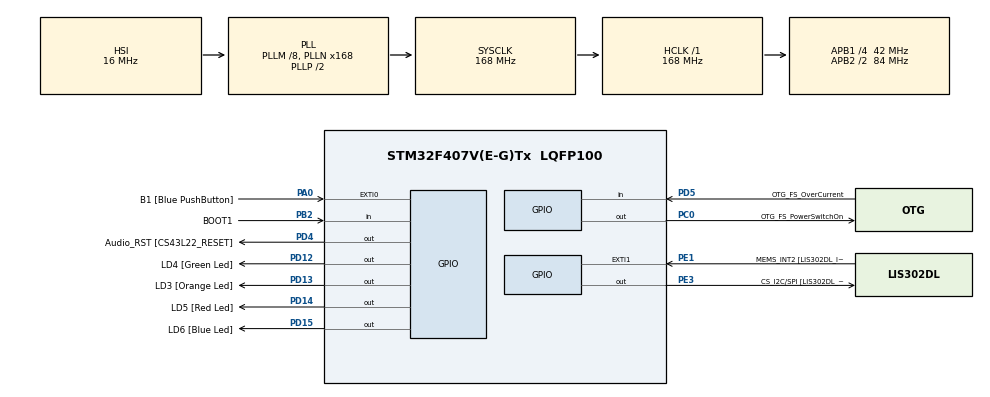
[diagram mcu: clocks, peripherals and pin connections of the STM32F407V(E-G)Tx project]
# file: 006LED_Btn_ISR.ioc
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Mcu.Family=STM32F4
PA11.GPIO_Speed=GPIO_SPEED_FREQ_LOW
PC3.GPIO_Mode=GPIO_MODE_AF_PP
PD12.GPIO_Label=LD4 [Green Led]
PH0-OSC_IN.Signal=RCC_OSC_IN
VP_SYS_VS_tim6.Mode=TIM6
RCC.CortexFreq_Value=168000000
PC10.GPIO_PuPd=GPIO_NOPULL
PB10.GPIO_Speed=GPIO_SPEED_FREQ_LOW
PB6.GPIO_Mode=GPIO_MODE_AF_OD
PB10.GPIO_PuPd=GPIO_NOPULL
NVIC.TIM6_DAC_IRQn=true\:0\:0\:false\:false\:true\:false\:true
PA10.GPIO_PuPd=GPIO_NOPULL
PD15.GPIO_Speed=GPIO_SPEED_FREQ_LOW
PC10.Signal=I2S3_CK
PC12.Signal=I2S3_SD
PA14.GPIO_Label=SWCLK
PA7.GPIO_Mode=GPIO_MODE_AF_PP
PC0.GPIO_Label=OTG_FS_PowerSwitchOn
PA6.GPIO_Label=SPI1_MISO [LIS302DL_SDO]
PB6.GPIO_Label=Audio_SCL [CS43L22_SCL]
PC10.GPIO_Speed=GPIO_SPEED_FREQ_LOW
PA11.GPIO_PuPd=GPIO_NOPULL
PC15-OSC32_OUT.GPIO_Label=PC15-OSC32_OUT
PC3.GPIO_Speed=GPIO_SPEED_FREQ_LOW
RCC.SYSCLKSource=RCC_SYSCLKSOURCE_PLLCLK
ProjectManager.StackSize=0x400
PA6.GPIO_Mode=GPIO_MODE_AF_PP
PD13.Signal=GPIO_Output
PD14.GPIO_Speed=GPIO_SPEED_FREQ_LOW
PA12.Signal=USB_OTG_FS_DP
RCC.HCLKFreq_Value=168000000
PD4.Signal=GPIO_Output
RCC.APB2TimFreq_Value=168000000
PB6.Signal=I2C1_SCL
PC7.Signal=I2S3_MCK
PC3.Signal=I2S2_SD
PE1.Signal=GPXTI1
RCC.AHBFreq_Value=168000000
PH0-OSC_IN.GPIO_Label=PH0-OSC_IN
PA9.GPIO_Mode=GPIO_MODE_INPUT
RCC.HSE_VALUE=8000000
PA4.GPIO_PuPd=GPIO_NOPULL
PB2.Signal=GPIO_Input
PA4.GPIO_Speed=GPIO_SPEED_FREQ_LOW
PA6.GPIO_PuPd=GPIO_NOPULL
PA5.GPIO_PuPd=GPIO_NOPULL
PA10.GPIO_Label=OTG_FS_ID
PC7.GPIO_Mode=GPIO_MODE_AF_PP
PD5.GPIO_Mode=GPIO_MODE_INPUT
PD14.GPIO_PuPd=GPIO_NOPULL
PB2.GPIO_PuPd=GPIO_NOPULL
PD13.GPIO_Label=LD3 [Orange Led]
Mcu.Package=LQFP100
PB9.Signal=I2C1_SDA
PA6.Signal=SPI1_MISO
NVIC.TimeBase=TIM6_DAC_IRQn
PD12.Signal=GPIO_Output
PD5.GPIO_Label=OTG_FS_OverCurrent
PD15.GPIO_PuPd=GPIO_NOPULL
NVIC.TimeBaseIP=TIM6
PA10.Signal=USB_OTG_FS_ID
PB9.GPIO_PuPd=GPIO_NOPULL
PA10.GPIO_Speed=GPIO_SPEED_FREQ_LOW
RCC.APB2CLKDivider=RCC_HCLK_DIV2
PB9.GPIO_Speed=GPIO_SPEED_FREQ_LOW
RCC.APB1TimFreq_Value=84000000
PC14-OSC32_IN.GPIO_Label=PC14-OSC32_IN
PC12.GPIO_PuPd=GPIO_NOPULL
PA6.GPIO_Speed=GPIO_SPEED_FREQ_LOW
PC0.GPIO_PuPd=GPIO_NOPULL
PA12.GPIO_PuPd=GPIO_NOPULL
PA4.GPIO_Label=I2S3_WS [CS43L22_LRCK]
PD15.Signal=GPIO_Output
PC0.PinState=GPIO_PIN_SET
PA12.GPIO_Speed=GPIO_SPEED_FREQ_LOW
PB3.GPIO_Label=SWO
PD12.GPIO_Speed=GPIO_SPEED_FREQ_LOW
PD15.GPIO_Label=LD6 [Blue Led]
PB9.GPIO_Label=Audio_SDA [CS43L22_SDA]
PC10.GPIO_Label=I2S3_SCK [CS43L22_SCLK]
PA9.GPIO_Label=VBUS_FS
PB6.GPIO_PuPd=GPIO_NOPULL
PA11.GPIO_Label=OTG_FS_DM
PE1.GPIO_PuPd=GPIO_NOPULL
PD5.Signal=GPIO_Input
PC0.Signal=GPIO_Output
PE1.GPIO_ModeDefaultEXTI=GPIO_MODE_EVT_RISING
RCC.APB1CLKDivider=RCC_HCLK_DIV4
PC14-OSC32_IN.Signal=RCC_OSC32_IN
PA9.GPIO_PuPd=GPIO_NOPULL
PA0-WKUP.GPIO_ModeDefaultEXTI=GPIO_MODE_IT_RISING
PA12.GPIO_Label=OTG_FS_DP
PA0-WKUP.GPIO_Label=B1 [Blue PushButton]
PA0-WKUP.Signal=GPXTI0
PA10.GPIO_Mode=GPIO_MODE_AF_PP
PA13.Signal=SYS_JTMS-SWDIO
PC10.GPIO_Mode=GPIO_MODE_AF_PP
PD4.GPIO_PuPd=GPIO_NOPULL
PC0.GPIO_Speed=GPIO_SPEED_FREQ_LOW
PB10.GPIO_Mode=GPIO_MODE_AF_PP
ProjectManager.TargetToolchain=STM32CubeIDE
PB10.GPIO_Label=CLK_IN [MP45DT02_CLK]
PA9.Signal=USB_OTG_FS_VBUS
PC7.GPIO_PuPd=GPIO_NOPULL
RCC.LSE_VALUE=32768
PC15-OSC32_OUT.Signal=RCC_OSC32_OUT
PA7.GPIO_PuPd=GPIO_NOPULL
PB10.Signal=I2S2_CK
PA5.Signal=SPI1_SCK
board=STM32F407G-DISC1
PD13.GPIO_Speed=GPIO_SPEED_FREQ_LOW
PC7.GPIO_Speed=GPIO_SPEED_FREQ_LOW
RCC.VCOOutputFreq_Value=336000000
PE1.GPIO_Label=MEMS_INT2 [LIS302DL_INT2]
PA7.GPIO_Speed=GPIO_SPEED_FREQ_LOW
PB9.GPIO_Mode=GPIO_MODE_AF_OD
PA12.GPIO_Mode=GPIO_MODE_AF_PP
PA4.GPIO_Mode=GPIO_MODE_AF_PP
RCC.APB2Freq_Value=84000000
PB2.GPIO_Mode=GPIO_MODE_INPUT
PD4.GPIO_Label=Audio_RST [CS43L22_RESET]
PD4.GPIO_Speed=GPIO_SPEED_FREQ_LOW
PE3.GPIO_PuPd=GPIO_NOPULL
PH1-OSC_OUT.Signal=RCC_OSC_OUT
PD13.GPIO_PuPd=GPIO_NOPULL
PD5.GPIO_PuPd=GPIO_NOPULL
PD14.GPIO_Label=LD5 [Red Led]
PH1-OSC_OUT.GPIO_Label=PH1-OSC_OUT
Mcu.Name=STM32F407V(E-G)Tx
PA13.GPIO_Label=SWDIO
PC7.GPIO_Label=I2S3_MCK [CS43L22_MCLK]
PD14.Signal=GPIO_Output
RCC.48MHZClocksFreq_Value=48000000
PB3.Signal=SYS_JTDO-SWO
NVIC.EXTI0_IRQn=true\:6\:0\:true\:false\:true\:true\:false
PA4.Signal=I2S3_WS
RCC.SYSCLKFreq_VALUE=168000000
PC12.GPIO_Mode=GPIO_MODE_AF_PP
PA7.GPIO_Label=SPI1_MOSI [LIS302DL_SDA/SDI/SDO]
PA5.GPIO_Label=SPI1_SCK [LIS302DL_SCL/SPC]
PE3.GPIO_Speed=GPIO_SPEED_FREQ_LOW
PC12.GPIO_Label=I2S3_SD [CS43L22_SDIN]
PA11.Signal=USB_OTG_FS_DM
PA14.Signal=SYS_JTCK-SWCLK
PB2.GPIO_Label=BOOT1
ProjectManager.HeapSize=0x200
RCC.HSI_VALUE=16000000
PA5.GPIO_Speed=GPIO_SPEED_FREQ_LOW
RCC.PLLQ=7
NVIC.PriorityGroup=NVIC_PRIORITYGROUP_4
RCC.PLLM=8
RCC.PLLN=168
PE3.Signal=GPIO_Output
PE3.GPIO_Label=CS_I2C/SPI [LIS302DL_CS_I2C/SPI]
PC3.GPIO_Label=PDM_OUT [MP45DT02_DOUT]
PA11.GPIO_Mode=GPIO_MODE_AF_PP
PB6.GPIO_Speed=GPIO_SPEED_FREQ_LOW
RCC.APB1Freq_Value=42000000
PA5.GPIO_Mode=GPIO_MODE_AF_PP
PC12.GPIO_Speed=GPIO_SPEED_FREQ_LOW
PC3.GPIO_PuPd=GPIO_NOPULL
PD12.GPIO_PuPd=GPIO_NOPULL
PA7.Signal=SPI1_MOSI

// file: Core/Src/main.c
/* USER CODE BEGIN Header */
/**
  ******************************************************************************
  * @file           : main.c
  * @brief          : Main program body
  ******************************************************************************
  * @attention
  *
  * <h2><center>&copy; Copyright (c) 2021 STMicroelectronics.
  * All rights reserved.</center></h2>
  *
  * This software component is licensed by ST under BSD 3-Clause license,
  * the "License"; You may not use this file except in compliance with the
  * License. You may obtain a copy of the License at:
  *                        opensource.org/licenses/BSD-3-Clause
  *
  ******************************************************************************
  */
/* USER CODE END Header */
#include "main.h"

/* USER CODE BEGIN Includes */
#include "FreeRTOS.h"
#include "task.h"
#include <stdio.h>
/* USER CODE END Includes */

/* USER CODE BEGIN PM */

#define DWT_CTRL  (*(volatile uint32_t *)0xE0001000)
#define BUTTON_PRESSED      GPIO_PIN_SET
#define BUTTON_NOT_PRESSED  GPIO_PIN_RESET

#define BUTTON_STATE() HAL_GPIO_ReadPin(GPIOA, GPIO_PIN_0)

/* USER CODE END PM */

/* USER CODE BEGIN PV */

// Task handles
TaskHandle_t ledg_task_handle, ledo_task_handle, ledr_task_handle;
TaskHandle_t volatile next_task_handle;

/* USER CODE END PV */

void SystemClock_Config(void);
static void MX_GPIO_Init(void);
/* USER CODE BEGIN PFP */
extern void SEGGER_UART_init(U32 baud);
// tasks
static void led_green_handler(void* parameters);
static void led_red_handler(void* parameters);
static void led_orange_handler(void* parameters);
void button_interrupt_handler(void);

/* USER CODE END PFP */

int main(void)
{
  /* USER CODE BEGIN 1 */

  BaseType_t status;   // To store the status return from the xTaskCreate

  /* USER CODE END 1 */

  /* MCU Configuration--------------------------------------------------------*/

  /* Reset of all peripherals, Initializes the Flash interface and the Systick. */
  HAL_Init();

  /* Configure the system clock */
  SystemClock_Config();

  /* Initialize all configured peripherals */
  MX_GPIO_Init();
  /* USER CODE BEGIN 2 */

  // Enable the CYCCNT counter (for SEGGER)
  DWT_CTRL |= (1 << 0);

  // Config. uart based SEGGER communication
  SEGGER_UART_init(250000);

  // Starting the recording (for SEGGER)
  SEGGER_SYSVIEW_Conf();

  // Config. LED_green_task
  status = xTaskCreate(&led_green_handler, "LED_green_task", 200, NULL, 4, &ledg_task_handle);
  configASSERT(status == pdPASS);  // Traps the code if the above function returns an unexpected status

  // Config. LED_red_task
  status = xTaskCreate(&led_red_handler, "LED_red_task", 200, NULL, 3, &ledr_task_handle);
  configASSERT(status == pdPASS);  // Traps the code if the above function returns an unexpected status

  // Config. LED_orange_task
  status = xTaskCreate(&led_orange_handler, "LED_orange_task", 200, NULL, 2, &ledo_task_handle);
  configASSERT(status == pdPASS);  // Traps the code if the above function returns an unexpected status

  // Make next task deleted to be LED_green_task
  next_task_handle = ledg_task_handle;

  // Start the freeRTOS scheduler
  vTaskStartScheduler();

  // If the control comes here, then the launch of the scheduler has failed due to insufficient
  // memory in the heap

  /* USER CODE END 2 */

  /* Infinite loop */
  while (1)
  {

  }
}

void SystemClock_Config(void)
{
  RCC_OscInitTypeDef RCC_OscInitStruct = {0};
  RCC_ClkInitTypeDef RCC_ClkInitStruct = {0};

  /** Configure the main internal regulator output voltage
  */
  __HAL_RCC_PWR_CLK_ENABLE();
  __HAL_PWR_VOLTAGESCALING_CONFIG(PWR_REGULATOR_VOLTAGE_SCALE1);
  /** Initializes the RCC Oscillators according to the specified parameters
  * in the RCC_OscInitTypeDef structure.
  */
  RCC_OscInitStruct.OscillatorType = RCC_OSCILLATORTYPE_HSI;
  RCC_OscInitStruct.HSIState = RCC_HSI_ON;
  RCC_OscInitStruct.HSICalibrationValue = RCC_HSICALIBRATION_DEFAULT;
  RCC_OscInitStruct.PLL.PLLState = RCC_PLL_ON;
  RCC_OscInitStruct.PLL.PLLSource = RCC_PLLSOURCE_HSI;
  RCC_OscInitStruct.PLL.PLLM = 8;
  RCC_OscInitStruct.PLL.PLLN = 168;
  RCC_OscInitStruct.PLL.PLLP = RCC_PLLP_DIV2;
  RCC_OscInitStruct.PLL.PLLQ = 7;
  if (HAL_RCC_OscConfig(&RCC_OscInitStruct) != HAL_OK)
  {
    Error_Handler();
  }
  /** Initializes the CPU, AHB and APB buses clocks
  */
  RCC_ClkInitStruct.ClockType = RCC_CLOCKTYPE_HCLK|RCC_CLOCKTYPE_SYSCLK
                              |RCC_CLOCKTYPE_PCLK1|RCC_CLOCKTYPE_PCLK2;
  RCC_ClkInitStruct.SYSCLKSource = RCC_SYSCLKSOURCE_PLLCLK;
  RCC_ClkInitStruct.AHBCLKDivider = RCC_SYSCLK_DIV1;
  RCC_ClkInitStruct.APB1CLKDivider = RCC_HCLK_DIV4;
  RCC_ClkInitStruct.APB2CLKDivider = RCC_HCLK_DIV2;

  if (HAL_RCC_ClockConfig(&RCC_ClkInitStruct, FLASH_LATENCY_5) != HAL_OK)
  {
    Error_Handler();
  }
}

static void MX_GPIO_Init(void)
{
  GPIO_InitTypeDef GPIO_InitStruct = {0};

  /* GPIO Ports Clock Enable */
  __HAL_RCC_GPIOE_CLK_ENABLE();
  __HAL_RCC_GPIOC_CLK_ENABLE();
  __HAL_RCC_GPIOH_CLK_ENABLE();
  __HAL_RCC_GPIOA_CLK_ENABLE();
  __HAL_RCC_GPIOB_CLK_ENABLE();
  __HAL_RCC_GPIOD_CLK_ENABLE();

  /*Configure GPIO pin Output Level */
  HAL_GPIO_WritePin(CS_I2C_SPI_GPIO_Port, CS_I2C_SPI_Pin, GPIO_PIN_RESET);

  /*Configure GPIO pin Output Level */
  HAL_GPIO_WritePin(OTG_FS_PowerSwitchOn_GPIO_Port, OTG_FS_PowerSwitchOn_Pin, GPIO_PIN_SET);

  /*Configure GPIO pin Output Level */
  HAL_GPIO_WritePin(GPIOD, LD4_Pin|LD3_Pin|LD5_Pin|LD6_Pin
                          |Audio_RST_Pin, GPIO_PIN_RESET);

  /*Configure GPIO pin : CS_I2C_SPI_Pin */
  GPIO_InitStruct.Pin = CS_I2C_SPI_Pin;
  GPIO_InitStruct.Mode = GPIO_MODE_OUTPUT_PP;
  GPIO_InitStruct.Pull = GPIO_NOPULL;
  GPIO_InitStruct.Speed = GPIO_SPEED_FREQ_LOW;
  HAL_GPIO_Init(CS_I2C_SPI_GPIO_Port, &GPIO_InitStruct);

  /*Configure GPIO pin : OTG_FS_PowerSwitchOn_Pin */
  GPIO_InitStruct.Pin = OTG_FS_PowerSwitchOn_Pin;
  GPIO_InitStruct.Mode = GPIO_MODE_OUTPUT_PP;
  GPIO_InitStruct.Pull = GPIO_NOPULL;
  GPIO_InitStruct.Speed = GPIO_SPEED_FREQ_LOW;
  HAL_GPIO_Init(OTG_FS_PowerSwitchOn_GPIO_Port, &GPIO_InitStruct);

  /*Configure GPIO pin : PDM_OUT_Pin */
  GPIO_InitStruct.Pin = PDM_OUT_Pin;
  GPIO_InitStruct.Mode = GPIO_MODE_AF_PP;
  GPIO_InitStruct.Pull = GPIO_NOPULL;
  GPIO_InitStruct.Speed = GPIO_SPEED_FREQ_LOW;
  GPIO_InitStruct.Alternate = GPIO_AF5_SPI2;
  HAL_GPIO_Init(PDM_OUT_GPIO_Port, &GPIO_InitStruct);

  /*Configure GPIO pin : B1_Pin */
  GPIO_InitStruct.Pin = B1_Pin;
  GPIO_InitStruct.Mode = GPIO_MODE_IT_RISING;
  GPIO_InitStruct.Pull = GPIO_NOPULL;
  HAL_GPIO_Init(B1_GPIO_Port, &GPIO_InitStruct);

  /*Configure GPIO pin : I2S3_WS_Pin */
  GPIO_InitStruct.Pin = I2S3_WS_Pin;
  GPIO_InitStruct.Mode = GPIO_MODE_AF_PP;
  GPIO_InitStruct.Pull = GPIO_NOPULL;
  GPIO_InitStruct.Speed = GPIO_SPEED_FREQ_LOW;
  GPIO_InitStruct.Alternate = GPIO_AF6_SPI3;
  HAL_GPIO_Init(I2S3_WS_GPIO_Port, &GPIO_InitStruct);

  /*Configure GPIO pins : SPI1_SCK_Pin SPI1_MISO_Pin SPI1_MOSI_Pin */
  GPIO_InitStruct.Pin = SPI1_SCK_Pin|SPI1_MISO_Pin|SPI1_MOSI_Pin;
  GPIO_InitStruct.Mode = GPIO_MODE_AF_PP;
  GPIO_InitStruct.Pull = GPIO_NOPULL;
  GPIO_InitStruct.Speed = GPIO_SPEED_FREQ_LOW;
  GPIO_InitStruct.Alternate = GPIO_AF5_SPI1;
  HAL_GPIO_Init(GPIOA, &GPIO_InitStruct);

  /*Configure GPIO pin : BOOT1_Pin */
  GPIO_InitStruct.Pin = BOOT1_Pin;
  GPIO_InitStruct.Mode = GPIO_MODE_INPUT;
  GPIO_InitStruct.Pull = GPIO_NOPULL;
  HAL_GPIO_Init(BOOT1_GPIO_Port, &GPIO_InitStruct);

  /*Configure GPIO pin : CLK_IN_Pin */
  GPIO_InitStruct.Pin = CLK_IN_Pin;
  GPIO_InitStruct.Mode = GPIO_MODE_AF_PP;
  GPIO_InitStruct.Pull = GPIO_NOPULL;
  GPIO_InitStruct.Speed = GPIO_SPEED_FREQ_LOW;
  GPIO_InitStruct.Alternate = GPIO_AF5_SPI2;
  HAL_GPIO_Init(CLK_IN_GPIO_Port, &GPIO_InitStruct);

  /*Configure GPIO pins : LD4_Pin LD3_Pin LD5_Pin LD6_Pin
                           Audio_RST_Pin */
  GPIO_InitStruct.Pin = LD4_Pin|LD3_Pin|LD5_Pin|LD6_Pin
                          |Audio_RST_Pin;
  GPIO_InitStruct.Mode = GPIO_MODE_OUTPUT_PP;
  GPIO_InitStruct.Pull = GPIO_NOPULL;
  GPIO_InitStruct.Speed = GPIO_SPEED_FREQ_LOW;
  HAL_GPIO_Init(GPIOD, &GPIO_InitStruct);

  /*Configure GPIO pins : I2S3_MCK_Pin I2S3_SCK_Pin I2S3_SD_Pin */
  GPIO_InitStruct.Pin = I2S3_MCK_Pin|I2S3_SCK_Pin|I2S3_SD_Pin;
  GPIO_InitStruct.Mode = GPIO_MODE_AF_PP;
  GPIO_InitStruct.Pull = GPIO_NOPULL;
  GPIO_InitStruct.Speed = GPIO_SPEED_FREQ_LOW;
  GPIO_InitStruct.Alternate = GPIO_AF6_SPI3;
  HAL_GPIO_Init(GPIOC, &GPIO_InitStruct);

  /*Configure GPIO pin : VBUS_FS_Pin */
  GPIO_InitStruct.Pin = VBUS_FS_Pin;
  GPIO_InitStruct.Mode = GPIO_MODE_INPUT;
  GPIO_InitStruct.Pull = GPIO_NOPULL;
  HAL_GPIO_Init(VBUS_FS_GPIO_Port, &GPIO_InitStruct);

  /*Configure GPIO pins : OTG_FS_ID_Pin OTG_FS_DM_Pin OTG_FS_DP_Pin */
  GPIO_InitStruct.Pin = OTG_FS_ID_Pin|OTG_FS_DM_Pin|OTG_FS_DP_Pin;
  GPIO_InitStruct.Mode = GPIO_MODE_AF_PP;
  GPIO_InitStruct.Pull = GPIO_NOPULL;
  GPIO_InitStruct.Speed = GPIO_SPEED_FREQ_LOW;
  GPIO_InitStruct.Alternate = GPIO_AF10_OTG_FS;
  HAL_GPIO_Init(GPIOA, &GPIO_InitStruct);

  /*Configure GPIO pin : OTG_FS_OverCurrent_Pin */
  GPIO_InitStruct.Pin = OTG_FS_OverCurrent_Pin;
  GPIO_InitStruct.Mode = GPIO_MODE_INPUT;
  GPIO_InitStruct.Pull = GPIO_NOPULL;
  HAL_GPIO_Init(OTG_FS_OverCurrent_GPIO_Port, &GPIO_InitStruct);

  /*Configure GPIO pins : Audio_SCL_Pin Audio_SDA_Pin */
  GPIO_InitStruct.Pin = Audio_SCL_Pin|Audio_SDA_Pin;
  GPIO_InitStruct.Mode = GPIO_MODE_AF_OD;
  GPIO_InitStruct.Pull = GPIO_PULLUP;
  GPIO_InitStruct.Speed = GPIO_SPEED_FREQ_LOW;
  GPIO_InitStruct.Alternate = GPIO_AF4_I2C1;
  HAL_GPIO_Init(GPIOB, &GPIO_InitStruct);

  /*Configure GPIO pin : MEMS_INT2_Pin */
  GPIO_InitStruct.Pin = MEMS_INT2_Pin;
  GPIO_InitStruct.Mode = GPIO_MODE_EVT_RISING;
  GPIO_InitStruct.Pull = GPIO_NOPULL;
  HAL_GPIO_Init(MEMS_INT2_GPIO_Port, &GPIO_InitStruct);

  /* EXTI interrupt init*/
  HAL_NVIC_SetPriority(EXTI0_IRQn, 6, 0);
  HAL_NVIC_EnableIRQ(EXTI0_IRQn);

}

/* USER CODE BEGIN 4 */

static void led_green_handler(void* parameters){

	BaseType_t status;

	while(1){
		SEGGER_SYSVIEW_PrintfTarget("Toggling green LED");
		HAL_GPIO_TogglePin(GPIOD, LED_GREEN_PIN);
		status = xTaskNotifyWait(0, 0, NULL, pdMS_TO_TICKS(1000));

		if(status == pdTRUE){
			// Task received notification
			portENTER_CRITICAL();  // disable interrupts of the system with priority less than configMAX_SYSCALL_INTERRUPT_PRIORITY
			next_task_handle = ledo_task_handle;
			HAL_GPIO_WritePin(GPIOD, LED_GREEN_PIN, GPIO_PIN_RESET);
			SEGGER_SYSVIEW_PrintfTarget("Deleting green LED task");
			portEXIT_CRITICAL();  // enable interrupts of the system
			vTaskDelete(NULL);  // NULL - Self delete
		}

	}

}

static void led_orange_handler(void* parameters){

	BaseType_t status;

	while(1){
		SEGGER_SYSVIEW_PrintfTarget("Toggling orange LED");
		HAL_GPIO_TogglePin(GPIOD, LED_ORANGE_PIN);
		status = xTaskNotifyWait(0, 0, NULL, pdMS_TO_TICKS(800));

		if(status == pdTRUE){
			// Task received notification
			portENTER_CRITICAL();
			next_task_handle = ledr_task_handle;
			HAL_GPIO_WritePin(GPIOD, LED_ORANGE_PIN, GPIO_PIN_RESET);
			SEGGER_SYSVIEW_PrintfTarget("Deleting orange LED task");
			portEXIT_CRITICAL();
			vTaskDelete(NULL);  // NULL - Self delete
		}
	}

}

static void led_red_handler(void* parameters){

	BaseType_t status;

	while(1){
		SEGGER_SYSVIEW_PrintfTarget("Toggling red LED");
		HAL_GPIO_TogglePin(GPIOD, LED_RED_PIN);
		status = xTaskNotifyWait(0, 0, NULL, pdMS_TO_TICKS(400));

		if(status == pdTRUE){
			// Task received notification
			portENTER_CRITICAL();
			next_task_handle = NULL;
			HAL_GPIO_WritePin(GPIOD, LED_RED_PIN, GPIO_PIN_RESET);
			SEGGER_SYSVIEW_PrintfTarget("Deleting red LED task");
			portEXIT_CRITICAL();
			vTaskDelete(NULL);  // NULL - Self delete
		}
	}

}

void button_interrupt_handler(void){
	traceISR_ENTER();

	BaseType_t pxHigherPriorityTaskWoken;

	pxHigherPriorityTaskWoken = pdFALSE;

	xTaskNotifyFromISR(next_task_handle, 0, eNoAction, &pxHigherPriorityTaskWoken);

	portYIELD_FROM_ISR(pxHigherPriorityTaskWoken); // If a higher PriorityTask Woken, then it will get executed immediately after this isr

	traceISR_EXIT();
}

/* USER CODE END 4 */

 /**
  * @brief  Period elapsed callback in non blocking mode
  * @note   This function is called  when TIM6 interrupt took place, inside
  * HAL_TIM_IRQHandler(). It makes a direct call to HAL_IncTick() to increment
  * a global variable "uwTick" used as application time base.
  * @param  htim : TIM handle
  * @retval None
  */
void HAL_TIM_PeriodElapsedCallback(TIM_HandleTypeDef *htim)
{
  if (htim->Instance == TIM6) {
    HAL_IncTick();
  }
}

void Error_Handler(void)
{
  __disable_irq();
  while (1)
  {
  }
}

/************************ (C) COPYRIGHT STMicroelectronics *****END OF FILE****/
